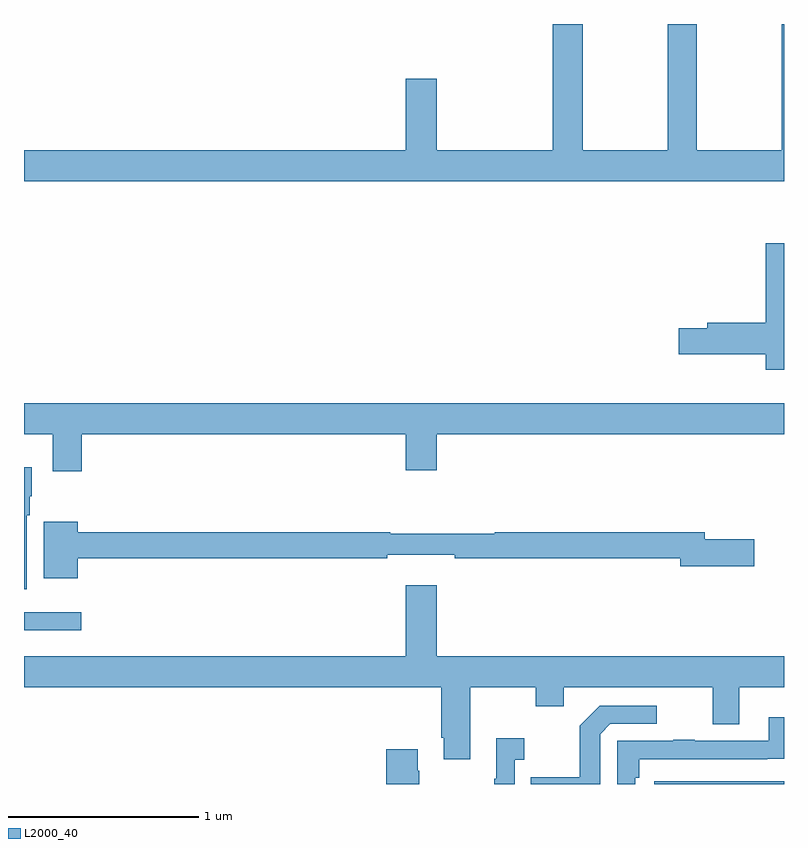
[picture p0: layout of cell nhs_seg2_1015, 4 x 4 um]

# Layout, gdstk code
import gdstk
lib = gdstk.Library(unit=1e-6, precision=1e-09)
def R(c, l, rs):  # rectangles x0, y0, x1, y1
    for r in rs: c.add(gdstk.rectangle(r[:2], r[2:], *l))
def P(c, l, *ps):  # polygons
    for p in ps: c.add(gdstk.Polygon(p, *l))
L2000_40 = (2000, 40)

nhs_seg2_1015 = lib.new_cell('nhs_seg2_1015')
R(nhs_seg2_1015, L2000_40, [(166.317,641.8,167,641.814), (163,642.608,163.3,642.705)])
P(nhs_seg2_1015, L2000_40, [(167,645.8),(166.987,645.8),(166.987,645.136),(166.542,645.136),(166.542,645.8),(166.387,645.8),(166.387,645.136),(165.942,645.136),(165.942,645.8),(165.782,645.8),(165.782,645.136),(165.172,645.136),(165.172,645.511),(165.008,645.511),(165.008,645.136),(163,645.136),(163,644.972),(167,644.972)],
  [(167,644.647),(166.904,644.647),(166.904,644.228),(166.595,644.228),(166.595,644.198),(166.446,644.198),(166.446,644.063),(166.904,644.063),(166.904,643.98),(167,643.98)],
  [(163,643.64),(163.151,643.64),(163.151,643.446),(163.304,643.446),(163.304,643.64),(165.008,643.64),(165.008,643.452),(165.172,643.452),(165.172,643.64),(167,643.64),(167,643.804),(163,643.804)],
  [(163.015,643.214),(163.03,643.214),(163.03,643.314),(163.042,643.314),(163.042,643.468),(163,643.468),(163,642.825),(163.015,642.825)],
  [(163.282,642.988),(164.912,642.988),(164.912,643.007),(165.268,643.007),(165.268,642.988),(166.454,642.988),(166.454,642.946),(166.843,642.946),(166.843,643.088),(166.582,643.088),(166.582,643.124),(165.478,643.124),(165.478,643.117),(164.928,643.117),(164.928,643.124),(163.282,643.124),(163.282,643.18),(163.103,643.18),(163.103,642.884),(163.282,642.884)],
  [(165.349,642.308),(165.694,642.308),(165.694,642.209),(165.841,642.209),(165.841,642.308),(166.625,642.308),(166.625,642.114),(166.765,642.114),(166.765,642.308),(167,642.308),(167,642.472),(165.172,642.472),(165.172,642.847),(165.008,642.847),(165.008,642.472),(163,642.472),(163,642.308),(165.197,642.308),(165.197,642.043),(165.209,642.043),(165.209,641.931),(165.349,641.931)],
  [(166.032,642.063),(166.086,642.117),(166.33,642.117),(166.33,642.213),(166.029,642.213),(165.924,642.107),(165.924,641.835),(165.667,641.835),(165.667,641.8),(166.032,641.8)],
  [(166.218,641.834),(166.238,641.834),(166.238,641.931),(166.913,641.931),(166.913,641.932),(167,641.932),(167,642.151),(166.919,642.151),(166.919,642.027),(166.529,642.027),(166.529,642.032),(166.417,642.032),(166.417,642.027),(166.122,642.027),(166.122,641.8),(166.218,641.8)],
  [(165.582,641.927),(165.634,641.927),(165.634,642.04),(165.485,642.04),(165.485,641.827),(165.474,641.827),(165.474,641.8),(165.582,641.8)],
  [(165.081,641.87),(165.073,641.87),(165.073,641.983),(164.906,641.983),(164.906,641.8),(165.081,641.8)])

lib.write_gds('nhs_seg2_1015.gds')
